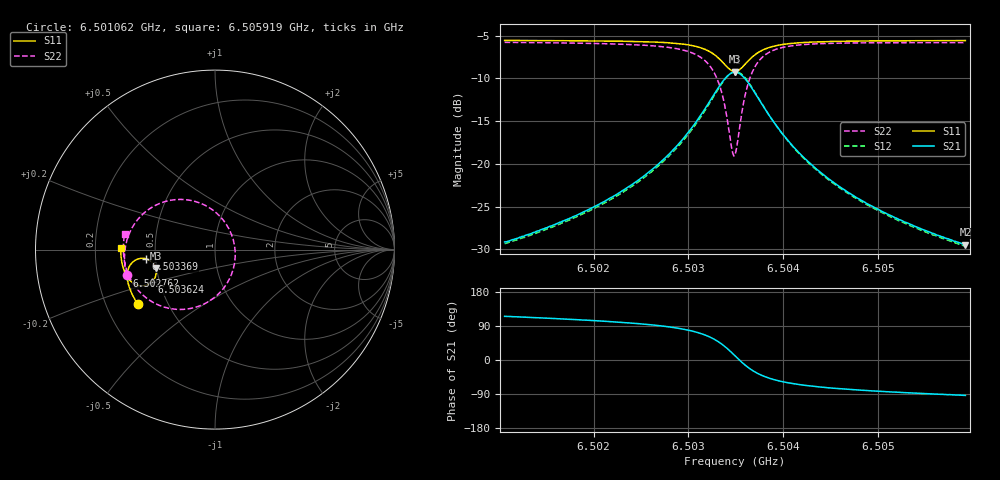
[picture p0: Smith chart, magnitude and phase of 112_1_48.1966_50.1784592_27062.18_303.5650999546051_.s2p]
#  HZ  S  RI  R  50.00
! Rohde & Schwarz Vector Network Analyzer
! Rohde-Schwarz,ZNB20-2Port,1311601062101988,3.16
! Created: UTC 3/20/2024, 11:41:02 AM
! freq[Hz]  re:S11  im:S11  re:S21  im:S21  re:S12  im:S12  re:S22  im:S22
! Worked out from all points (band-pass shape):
!   401 points, 6.501062 GHz to 6.505919 GHz, reference 50 ohm
!   highest |S21| = -9.29 dB at 6.50349 GHz (marker M1); lowest = -29.5 dB at 6.505919 GHz (marker M2)
!   |S21| within 3 dB of the highest: 6.503247 GHz to 6.503733 GHz (486 kHz wide, 0.00747 % of centre)
!   lowest |S11| = -9.2 dB at 6.50349 GHz (marker M3), VSWR 2.06, Z = 24.7 - j5.79 ohm
!   |S11| at or under -10 dB: nowhere
!   |S22| runs from -19.1 to -5.8 dB; largest |S21 - S12| = 0.012
!   S11 on the Smith chart (normalised r, x): 6.501062 GHz: 0.34, -0.28; 6.502762 GHz: 0.33, -0.13; 6.503369 GHz: 0.44, -0.05; 6.503624 GHz: 0.45, -0.19; 6.505919 GHz: 0.31, +0.01
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6.5010617e9  -0.4314 -0.3019  -0.0149 0.0316  -0.013 0.0315  -0.4931 -0.143
6.5018753e9  -0.4655 -0.2409  -0.0139 0.0499  -0.0115 0.0493  -0.5043 -0.0544
6.5022881e9  -0.4798 -0.2038  -0.0112 0.0677  -0.00825 0.0667  -0.5007 0.00536
6.5026888e9  -0.4889 -0.1588  -0.00122 0.1004  0.00248 0.0978  -0.4783 0.0875
6.5027616e9  -0.4895 -0.1487  0.00295 0.1093  0.00659 0.1065  -0.4695 0.1072
6.5029681e9  -0.4855 -0.1152  0.0246 0.1435  0.0283 0.1389  -0.424 0.1751
6.5031259e9  -0.4706 -0.083  0.0649 0.1799  0.0676 0.1739  -0.346 0.239
6.5032716e9  -0.432 -0.0534  0.1478 0.2086  0.1484 0.2023  -0.1944 0.2796
6.5033202e9  -0.4105 -0.0487  0.1909 0.2071  0.191 0.2013  -0.1186 0.2704
6.5033687e9  -0.3848 -0.0509  0.2404 0.1914  0.2406 0.1866  -0.0338 0.2348
6.5034537e9  -0.3417 -0.0807  0.3193 0.1153  0.3218 0.1109  0.0918 0.0843
6.5034902e9  -0.3308 -0.1032  0.3369 0.0658  0.3404 0.0602  0.1123 -0.00854
6.5035145e9  -0.3279 -0.1197  0.3403 0.0306  0.3441 0.0237  0.1094 -0.073
6.5035509e9  -0.3302 -0.144  0.3325 -0.02  0.3358 -0.0293  0.0808 -0.1629
6.5036237e9  -0.3529 -0.1814  0.2849 -0.0971  0.2846 -0.1088  -0.0315 -0.2868
6.5037209e9  -0.3941 -0.2011  0.2056 -0.1406  0.2006 -0.1507  -0.193 -0.3335
6.5038787e9  -0.4437 -0.1935  0.1166 -0.1398  0.1093 -0.1452  -0.3547 -0.2883
6.5040487e9  -0.4731 -0.1724  0.0683 -0.1185  0.0616 -0.121  -0.4334 -0.2204
6.5043037e9  -0.4955 -0.1411  0.0349 -0.0914  0.03 -0.092  -0.4815 -0.1417
6.5046437e9  -0.5105 -0.1047  0.0163 -0.0686  0.0127 -0.0681  -0.5037 -0.0701
6.5051172e9  -0.5208 -0.0601  0.00534 -0.0499  0.00289 -0.0492  -0.5108 5.34e-05
6.5059186e9  -0.526 0.00831  -0.00204 -0.0335  -0.00333 -0.0328  -0.5036 0.0871
